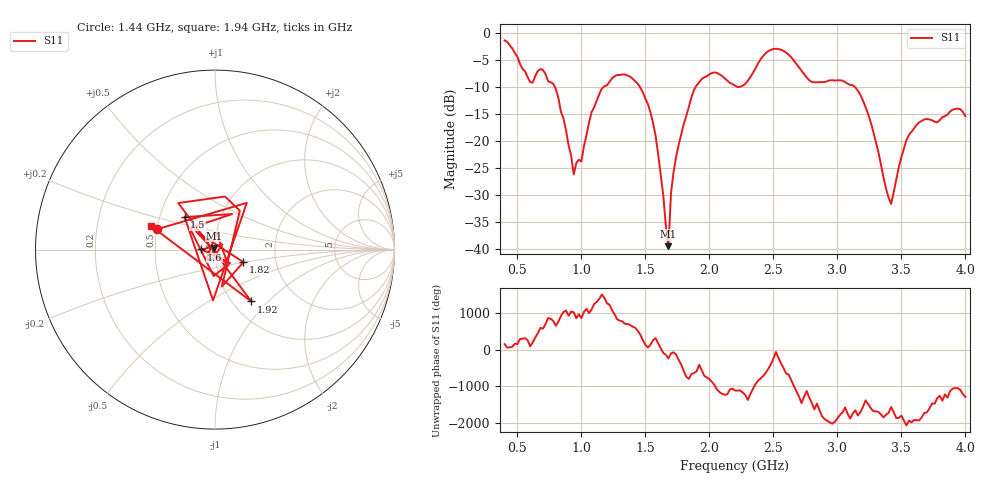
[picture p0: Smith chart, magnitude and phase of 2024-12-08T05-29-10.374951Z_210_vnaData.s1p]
!Created with skrf (http://scikit-rf.org).
# Hz S RI R 50.0
!freq ReS11 ImS11
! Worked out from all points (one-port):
!   181 points, 400 MHz to 4 GHz, reference 50 ohm
!   lowest |S11| = -39.4 dB at 1.68 GHz (marker M1), VSWR 1.02, Z = 49.4 + j0.865 ohm
!   |S11| at or under -10 dB: 794 MHz to 1.17 GHz (375.9 MHz wide, 38.3 % of centre); 1.459 GHz to 1.891 GHz (431.7 MHz wide, 25.8 % of centre); 3.139 GHz to end of sweep
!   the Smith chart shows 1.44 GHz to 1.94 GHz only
!   S11 on the Smith chart (normalised r, x): 1.44 GHz: 0.50, +0.13; 1.5 GHz: 0.67, +0.26; 1.6 GHz: 0.86, +0.00; 1.82 GHz: 1.36, -0.20; 1.92 GHz: 1.22, -0.80; 1.94 GHz: 0.46, +0.14
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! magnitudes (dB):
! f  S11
! 400 MHz  -1.3
! 600 MHz  -9.0
! 700 MHz  -6.8
! 800 MHz  -10.3
! 860 MHz  -15.8
! 940 MHz  -26.1
! 1 GHz  -23.7
! 1.08 GHz  -14.6
! 1.14 GHz  -11.2
! 1.3 GHz  -7.7
! 1.44 GHz  -9.3
! 1.5 GHz  -12.1
! 1.6 GHz  -22.4
! 1.68 GHz  -39.4
! 1.7 GHz  -29.6
! 1.76 GHz  -20.6
! 1.82 GHz  -15.2
! 1.92 GHz  -9.1
! 1.94 GHz  -8.5
! 2.2 GHz  -9.7
! 2.48 GHz  -3.0
! 2.66 GHz  -5.0
! 2.8 GHz  -9.0
! 3.1 GHz  -9.5
! 3.24 GHz  -15.0
! 3.42 GHz  -31.6
! 3.56 GHz  -18.8
! 4 GHz  -15.4
